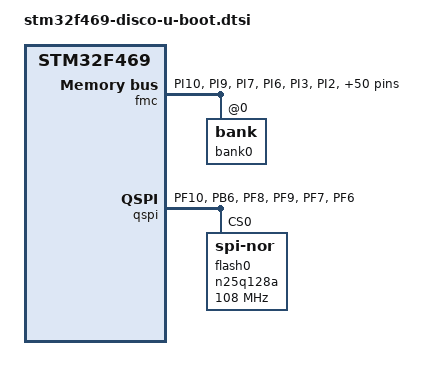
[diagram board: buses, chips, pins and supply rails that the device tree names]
// SPDX-License-Identifier: GPL-2.0+
/*
 * Copyright (C) 2017, STMicroelectronics - All Rights Reserved
 * Author(s): Patrice Chotard, <patrice.chotard@foss.st.com> for STMicroelectronics.
 */

#include <dt-bindings/memory/stm32-sdram.h>
/{
	clocks {
		bootph-all;
	};

	aliases {
		/* Aliases for gpios so as to use sequence */
		gpio0 = &gpioa;
		gpio1 = &gpiob;
		gpio2 = &gpioc;
		gpio3 = &gpiod;
		gpio4 = &gpioe;
		gpio5 = &gpiof;
		gpio6 = &gpiog;
		gpio7 = &gpioh;
		gpio8 = &gpioi;
		gpio9 = &gpioj;
		gpio10 = &gpiok;
		spi0 = &qspi;
	};

	soc {
		bootph-all;

		fmc: fmc@A0000000 {
			compatible = "st,stm32-fmc";
			reg = <0xa0000000 0x1000>;
			clocks = <&rcc 0 STM32F4_AHB3_CLOCK(FMC)>;
			st,syscfg = <&syscfg>;
			pinctrl-0 = <&fmc_pins_d32>;
			pinctrl-names = "default";
			st,mem_remap = <4>;
			bootph-all;

			/*
			 * Memory configuration from sdram
			 * MICRON MT48LC4M32B2B5-6A
			 */
			bank0: bank@0 {
			       st,sdram-control = /bits/ 8 <NO_COL_8
							    NO_ROW_12
							    MWIDTH_32
							    BANKS_4
							    CAS_3
							    SDCLK_2
							    RD_BURST_EN
							    RD_PIPE_DL_0>;
			       st,sdram-timing = /bits/ 8 <TMRD_2
							   TXSR_6
							   TRAS_4
							   TRC_6
							   TWR_2
							   TRP_2
							   TRCD_2>;
			       st,sdram-refcount = < 1292 >;
		       };
		};

		qspi: spi@A0001000 {
			compatible = "st,stm32f469-qspi";
			#address-cells = <1>;
			#size-cells = <0>;
			reg = <0xa0001000 0x1000>, <0x90000000 0x10000000>;
			reg-names = "qspi", "qspi_mm";
			interrupts = <91>;
			spi-max-frequency = <108000000>;
			clocks = <&rcc 0 STM32F4_AHB3_CLOCK(QSPI)>;
			resets = <&rcc STM32F4_AHB3_RESET(QSPI)>;
			pinctrl-0 = <&qspi_pins>;
		};
	};
};

&clk_hse {
	bootph-all;
};

&clk_i2s_ckin {
	bootph-all;
};

&clk_lse {
	bootph-all;
};

&dsi {
	clocks = <&rcc 0 STM32F4_APB2_CLOCK(DSI)>,
		 <&rcc 0 STM32F4_APB2_CLOCK(LTDC)>,
		 <&clk_hse>;
	clock-names = "pclk", "px_clk", "ref";
};

&gpioa {
	bootph-all;
};

&gpiob {
	bootph-all;
};

&gpioc {
	bootph-all;
};

&gpiod {
	bootph-all;
};

&gpioe {
	bootph-all;
};

&gpiof {
	bootph-all;
};

&gpiog {
	bootph-all;
};

&gpioh {
	bootph-all;
};

&gpioi {
	bootph-all;
};

&gpioj {
	bootph-all;
};

&gpiok {
	bootph-all;
};

&ltdc {
	bootph-all;

	clocks = <&rcc 0 STM32F4_APB2_CLOCK(LTDC)>;
};

&pinctrl {
	bootph-all;

	fmc_pins_d32: fmc_d32@0 {
		bootph-all;
		pins
		{
			pinmux = <STM32_PINMUX('I',10, AF12)>, /* D31 */
				 <STM32_PINMUX('I', 9, AF12)>, /* D30 */
				 <STM32_PINMUX('I', 7, AF12)>, /* D29 */
				 <STM32_PINMUX('I', 6, AF12)>, /* D28 */
				 <STM32_PINMUX('I', 3, AF12)>, /* D27 */
				 <STM32_PINMUX('I', 2, AF12)>, /* D26 */
				 <STM32_PINMUX('I', 1, AF12)>, /* D25 */
				 <STM32_PINMUX('I', 0, AF12)>, /* D24 */
				 <STM32_PINMUX('H',15, AF12)>, /* D23 */
				 <STM32_PINMUX('H',14, AF12)>, /* D22 */
				 <STM32_PINMUX('H',13, AF12)>, /* D21 */
				 <STM32_PINMUX('H',12, AF12)>, /* D20 */
				 <STM32_PINMUX('H',11, AF12)>, /* D19 */
				 <STM32_PINMUX('H',10, AF12)>, /* D18 */
				 <STM32_PINMUX('H', 9, AF12)>, /* D17 */
				 <STM32_PINMUX('H', 8, AF12)>, /* D16 */

				 <STM32_PINMUX('D',10, AF12)>, /* D15 */
				 <STM32_PINMUX('D', 9, AF12)>, /* D14 */
				 <STM32_PINMUX('D', 8, AF12)>, /* D13 */
				 <STM32_PINMUX('E',15, AF12)>, /* D12 */
				 <STM32_PINMUX('E',14, AF12)>, /* D11 */
				 <STM32_PINMUX('E',13, AF12)>, /* D10 */
				 <STM32_PINMUX('E',12, AF12)>, /* D09 */
				 <STM32_PINMUX('E',11, AF12)>, /* D08 */
				 <STM32_PINMUX('E',10, AF12)>, /* D07 */
				 <STM32_PINMUX('E', 9, AF12)>, /* D06 */
				 <STM32_PINMUX('E', 8, AF12)>, /* D05 */
				 <STM32_PINMUX('E', 7, AF12)>, /* D04 */
				 <STM32_PINMUX('D', 1, AF12)>, /* D03 */
				 <STM32_PINMUX('D', 0, AF12)>, /* D02 */
				 <STM32_PINMUX('D',15, AF12)>, /* D01 */
				 <STM32_PINMUX('D',14, AF12)>, /* D00 */

				 <STM32_PINMUX('E', 0, AF12)>, /* NBL0 */
				 <STM32_PINMUX('E', 1, AF12)>, /* NBL1 */
				 <STM32_PINMUX('I', 4, AF12)>, /* NBL2 */
				 <STM32_PINMUX('I', 5, AF12)>, /* NBL3 */

				 <STM32_PINMUX('G', 5, AF12)>, /* BA1 */
				 <STM32_PINMUX('G', 4, AF12)>, /* BA0 */

				 <STM32_PINMUX('G', 1, AF12)>, /* A11 */
				 <STM32_PINMUX('G', 0, AF12)>, /* A10 */
				 <STM32_PINMUX('F',15, AF12)>, /* A09 */
				 <STM32_PINMUX('F',14, AF12)>, /* A08 */
				 <STM32_PINMUX('F',13, AF12)>, /* A07 */
				 <STM32_PINMUX('F',12, AF12)>, /* A06 */
				 <STM32_PINMUX('F', 5, AF12)>, /* A05 */
				 <STM32_PINMUX('F', 4, AF12)>, /* A04 */
				 <STM32_PINMUX('F', 3, AF12)>, /* A03 */
				 <STM32_PINMUX('F', 2, AF12)>, /* A02 */
				 <STM32_PINMUX('F', 1, AF12)>, /* A01 */
				 <STM32_PINMUX('F', 0, AF12)>, /* A00 */

				 <STM32_PINMUX('H', 3, AF12)>, /* SDNE0 */
				 <STM32_PINMUX('C', 0, AF12)>, /* SDNWE */
				 <STM32_PINMUX('F',11, AF12)>, /* SDNRAS */
				 <STM32_PINMUX('G',15, AF12)>, /* SDNCAS */
				 <STM32_PINMUX('H', 2, AF12)>, /* SDCKE0 */
				 <STM32_PINMUX('G', 8, AF12)>; /* SDCLK> */
			slew-rate = <2>;
			bootph-all;
		};
	};

	qspi_pins: qspi@0 {
		pins {
			pinmux = <STM32_PINMUX('F',10, AF9)>, /* CLK */
				 <STM32_PINMUX('B', 6, AF10)>, /* BK1_NCS */
				 <STM32_PINMUX('F', 8, AF10)>, /* BK1_IO0 */
				 <STM32_PINMUX('F', 9, AF10)>, /* BK1_IO1 */
				 <STM32_PINMUX('F', 7, AF9)>, /* BK1_IO2 */
				 <STM32_PINMUX('F', 6, AF9)>; /* BK1_IO3 */
			slew-rate = <2>;
		};
	};

	usart3_pins_a: usart3-0	{
		bootph-all;
		pins1 {
			bootph-all;
		};
		pins2 {
			bootph-all;
		};
	};
};

&pwrcfg {
	bootph-all;
};

&qspi {
	reg = <0xa0001000 0x1000>, <0x90000000 0x1000000>;
	flash0: n25q128a@0 {
		#address-cells = <1>;
		#size-cells = <1>;
		compatible = "jedec,spi-nor";
		spi-max-frequency = <108000000>;
		spi-tx-bus-width = <4>;
		spi-rx-bus-width = <4>;
		reg = <0>;
	};
};

&rcc {
	bootph-all;
};

&syscfg {
	bootph-all;
};

&timers5 {
	bootph-all;
};
